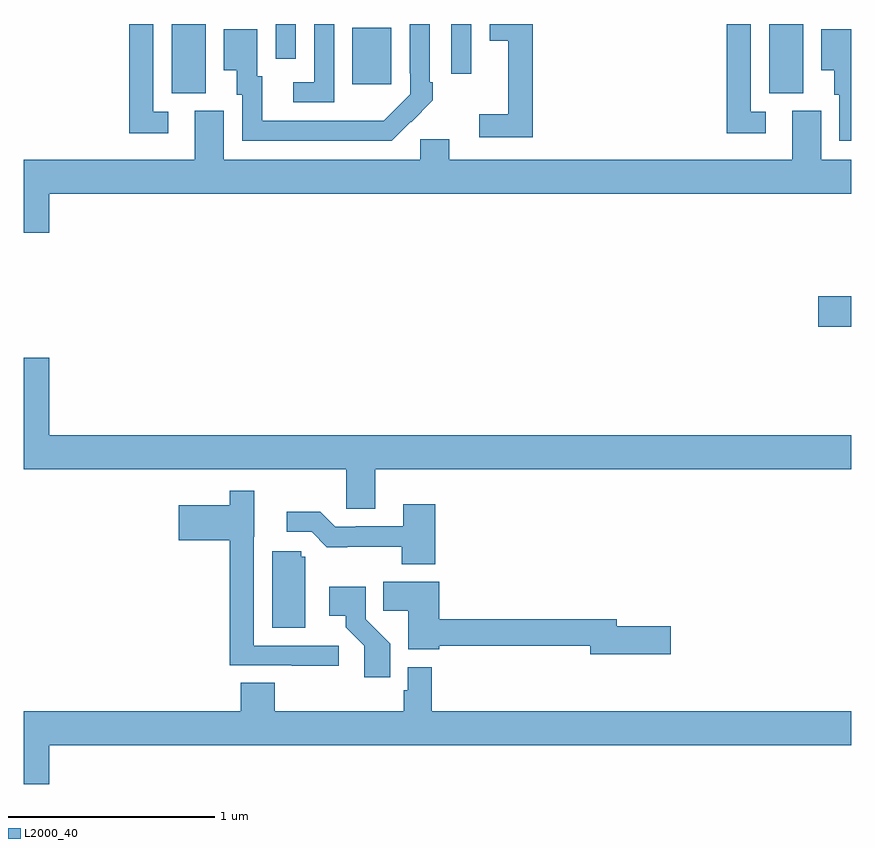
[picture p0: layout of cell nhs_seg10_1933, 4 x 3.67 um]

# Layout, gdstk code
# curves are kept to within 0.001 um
import gdstk
lib = gdstk.Library(unit=1e-6, precision=1e-09)
def R(c, l, rs):  # rectangles x0, y0, x1, y1
    for r in rs: c.add(gdstk.rectangle(r[:2], r[2:], *l))
def P(c, l, *ps):  # polygons
    for p in ps: c.add(gdstk.Polygon(p, *l))
L2000_40 = (2000, 40)

nhs_seg10_1933 = lib.new_cell('nhs_seg10_1933')
R(nhs_seg10_1933, L2000_40, [(216.84,1269.038,217,1269.185), (213.716,1270.165,213.88,1270.5), (216.602,1270.165,216.766,1270.5), (214.589,1270.209,214.777,1270.483), (215.067,1270.26,215.163,1270.5), (214.218,1270.332,214.314,1270.5)])
P(nhs_seg10_1933, L2000_40, [(214.871,1270.027),(214.872,1270.026),(214.977,1270.131),(214.977,1270.219),(214.962,1270.219),(214.962,1270.5),(214.866,1270.5),(214.866,1270.261),(214.869,1270.261),(214.869,1270.161),(214.741,1270.033),(214.153,1270.032),(214.153,1270.248),(214.129,1270.248),(214.129,1270.474),(213.968,1270.474),(213.968,1270.277),(214.031,1270.277),(214.031,1270.158),(214.056,1270.158),(214.056,1269.936),(214.78,1269.936)],
  [(216.586,1270.077),(216.513,1270.077),(216.513,1270.5),(216.397,1270.5),(216.397,1269.972),(216.586,1269.972)],
  [(215.459,1270.5),(215.252,1270.5),(215.252,1270.418),(215.342,1270.418),(215.342,1270.063),(215.202,1270.063),(215.202,1269.954),(215.459,1269.954)],
  [(213.7,1270.077),(213.627,1270.077),(213.627,1270.5),(213.511,1270.5),(213.511,1269.972),(213.7,1269.972)],
  [(214.5,1270.5),(214.404,1270.5),(214.404,1270.218),(214.302,1270.218),(214.302,1270.122),(214.5,1270.122)],
  [(217,1270.474),(216.854,1270.474),(216.854,1270.277),(216.917,1270.277),(216.917,1270.158),(216.942,1270.158),(216.942,1269.936),(217,1269.936)],
  [(213.124,1269.68),(217,1269.68),(217,1269.844),(216.853,1269.844),(216.853,1270.08),(216.713,1270.08),(216.713,1269.844),(215.056,1269.844),(215.056,1269.942),(214.917,1269.942),(214.917,1269.844),(213.967,1269.844),(213.967,1270.08),(213.827,1270.08),(213.827,1269.844),(213,1269.844),(213,1269.492),(213.124,1269.492)],
  [(214.699,1268.348),(217,1268.348),(217,1268.512),(213.124,1268.512),(213.124,1268.887),(213,1268.887),(213,1268.348),(214.56,1268.348),(214.56,1268.158),(214.699,1268.158)],
  [(214.522,1267.497),(214.113,1267.497),(214.113,1268.022),(214.114,1268.022),(214.114,1268.245),(213.997,1268.245),(213.997,1268.176),(213.75,1268.176),(213.75,1268.006),(213.997,1268.006),(213.997,1267.401),(214.297,1267.401),(214.297,1267.399),(214.522,1267.399)],
  [(214.988,1268.179),(214.835,1268.179),(214.835,1268.073),(214.606,1268.073),(214.606,1268.07),(214.506,1268.07),(214.433,1268.143),(214.272,1268.143),(214.272,1268.046),(214.392,1268.046),(214.465,1267.973),(214.828,1267.974),(214.828,1267.889),(214.988,1267.889)],
  [(214.36,1267.926),(214.341,1267.926),(214.341,1267.953),(214.202,1267.953),(214.202,1267.582),(214.36,1267.582)],
  [(216.127,1267.589),(215.866,1267.589),(215.866,1267.625),(215.009,1267.625),(215.009,1267.804),(214.738,1267.804),(214.738,1267.666),(214.859,1267.666),(214.859,1267.478),(215.009,1267.478),(215.009,1267.497),(215.738,1267.497),(215.738,1267.454),(216.127,1267.454)],
  [(214.772,1267.506),(214.653,1267.625),(214.653,1267.78),(214.476,1267.78),(214.476,1267.64),(214.556,1267.64),(214.556,1267.585),(214.647,1267.495),(214.647,1267.344),(214.772,1267.344)],
  [(213.124,1267.016),(217,1267.016),(217,1267.18),(214.973,1267.18),(214.973,1267.393),(214.857,1267.393),(214.857,1267.281),(214.837,1267.281),(214.837,1267.18),(214.214,1267.18),(214.214,1267.316),(214.049,1267.316),(214.049,1267.18),(213,1267.18),(213,1266.828),(213.124,1266.828)])

lib.write_gds('nhs_seg10_1933.gds')
